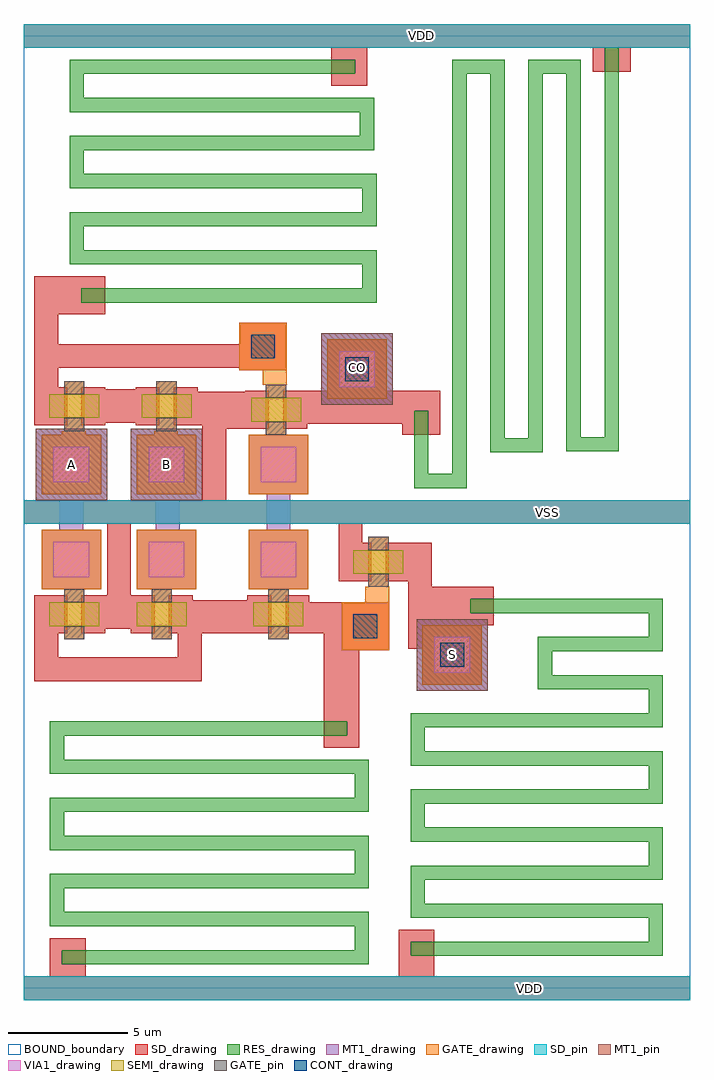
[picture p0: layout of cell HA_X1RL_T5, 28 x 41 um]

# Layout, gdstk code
from math import pi, radians
import gdstk
lib = gdstk.Library(unit=1e-6, precision=1e-09)
def R(c, l, rs):  # rectangles x0, y0, x1, y1
    for r in rs: c.add(gdstk.rectangle(r[:2], r[2:], *l))
def A(c, l, x, y, w, h, nx, ny, dx, dy):  # array of equal rectangles
    R(c, l, [(x+i*dx, y+j*dy, x+i*dx+w, y+j*dy+h) for i in range(nx) for j in range(ny)])
def P(c, l, *ps):  # polygons
    for p in ps: c.add(gdstk.Polygon(p, *l))
RES_drawing = (1, 0)
SEMI_drawing = (3, 0)
SD_drawing = (10, 0)
SD_pin = (10, 3)
GATE_drawing = (11, 0)
GATE_pin = (11, 3)
MT1_drawing = (20, 0)
MT1_pin = (20, 3)
CONT_drawing = (30, 0)
VIA1_drawing = (41, 0)
BOUND_boundary = (150, 5)

nch_cdns_772544899740 = lib.new_cell('nch_CDNS_772544899740')
R(nch_cdns_772544899740, SEMI_drawing, [(-1.05,-0.5,1.05,0.5)])
R(nch_cdns_772544899740, SD_drawing, [(-1.3,-0.8,-0.3,0.8), (0.3,-0.8,1.3,0.8)])
R(nch_cdns_772544899740, GATE_drawing, [(-0.425,-1.05,0.425,1.05)])
R(nch_cdns_772544899740, GATE_pin, [(-0.425,-1.05,0.425,-0.5), (-0.425,0.5,0.425,1.05)])

sd_gate_cdns_77254489974 = lib.new_cell('SD_GATE_CDNS_772544899740')
R(sd_gate_cdns_77254489974, SD_drawing, [(-1,-1,1,1)])
R(sd_gate_cdns_77254489974, GATE_drawing, [(-1,-1,1,1)])
R(sd_gate_cdns_77254489974, CONT_drawing, [(-0.5,-0.5,0.5,0.5)])

gate_mt1_cdns_7725448997 = lib.new_cell('GATE_MT1_CDNS_772544899741')
R(gate_mt1_cdns_7725448997, GATE_drawing, [(-1.25,-1.25,1.25,1.25)])
R(gate_mt1_cdns_7725448997, MT1_drawing, [(-1.25,-1.25,1.25,1.25)])
R(gate_mt1_cdns_7725448997, VIA1_drawing, [(-0.75,-0.75,0.75,0.75)])

ha_x1rl_t5 = lib.new_cell('HA_X1RL_T5')
R(ha_x1rl_t5, SD_drawing, [(1.1,0.5,2.6,2.1), (15.75,0.5,17.25,2.45), (12.6,10.1,14.1,15.05), (16.75,12.75,19.25,15.25), (17.15,15.25,19.75,16.85), (15.9,23.25,17.5,23.7), (8.5,23.5,9.3,23.65), (12.75,24.75,15.25,27.25), (0.5,28.3,3.425,29.9), (12.925,37.9,14.425,39.5), (23.9,38.5,25.5,39.5)])
A(ha_x1rl_t5, SD_pin, 0, -0.5, 28, 1, 1, 3, 0, 20)
P(ha_x1rl_t5, GATE_drawing, [(10.075,23.1),(11.075,23.1),(11.075,23.25),(10.975,23.25),(10.975,23.3),(10.225,23.3),(10.225,23.25),(10.075,23.25)],
  [(6.325,16.85),(5.325,16.85),(5.325,16.75),(5.425,16.75),(5.425,16.7),(6.175,16.7),(6.175,16.75),(6.325,16.75)],
  [(1.6,23.25),(2.6,23.25),(2.6,23.4),(2.5,23.4),(2.5,23.45),(1.75,23.45),(1.75,23.4),(1.6,23.4)],
  [(11.225,16.85),(10.225,16.85),(10.225,16.75),(10.325,16.75),(10.325,16.7),(11.075,16.7),(11.075,16.75),(11.225,16.75)],
  [(5.475,23.25),(6.475,23.25),(6.475,23.4),(6.375,23.4),(6.375,23.45),(5.625,23.45),(5.625,23.4),(5.475,23.4)],
  [(14.35,16.75),(15.35,16.75),(15.35,16.85),(15.275,16.85),(15.275,16.9),(14.525,16.9),(14.525,16.85),(14.35,16.85)],
  [(2.65,16.85),(1.65,16.85),(1.65,16.75),(1.75,16.75),(1.75,16.7),(2.5,16.7),(2.5,16.75),(2.65,16.75)],
  [(10.05,25.5),(11.05,25.5),(11.05,25.35),(10.975,25.35),(10.975,25.3),(10.225,25.3),(10.225,25.35),(10.05,25.35)])
R(ha_x1rl_t5, MT1_drawing, [(16.5,12.5,19.5,15.5), (0.5,20.5,3.5,23.5), (4.5,20.5,7.5,23.5), (12.5,24.5,15.5,27.5)])
R(ha_x1rl_t5, MT1_pin, [(16.5,12.5,19.5,15.5), (0.5,20.5,3.5,23.5), (4.5,20.5,7.5,23.5), (12.5,24.5,15.5,27.5)])
R(ha_x1rl_t5, BOUND_boundary, [(0,0,28,40)])
ha_x1rl_t5.add(gdstk.FlexPath([(16.65,18.7),(16.65,14.75)], 1, ends=(0, 0.5), simple_path=True, layer=10, datatype=0))  # SD_drawing
ha_x1rl_t5.add(gdstk.FlexPath([(9.4,15.6),(7.1,15.6)], 1.4, ends="flush", simple_path=True, layer=10, datatype=0))  # SD_drawing
ha_x1rl_t5.add(gdstk.FlexPath([(11.05,26.55),(1.15,26.55)], 1, ends="flush", simple_path=True, layer=10, datatype=0))  # SD_drawing
ha_x1rl_t5.add(gdstk.FlexPath([(8,24.35),(9.3,24.35)], 1.4, ends=(0.5, 0), simple_path=True, layer=10, datatype=0))  # SD_drawing
ha_x1rl_t5.add(gdstk.FlexPath([(13.725,20),(28,20)], 1, ends=(0.5, 0), simple_path=True, layer=10, datatype=0))  # SD_drawing
ha_x1rl_t5.add(gdstk.FlexPath([(13.85,15.4),(12.4,15.4)], 1, ends=(0, 0.75), simple_path=True, layer=10, datatype=0))  # SD_drawing
ha_x1rl_t5.add(gdstk.FlexPath([(4,15.1),(4,19.6)], 1, ends=(0, 0.5), simple_path=True, layer=10, datatype=0))  # SD_drawing
ha_x1rl_t5.add(gdstk.FlexPath([(3.3,15.8),(4.55,15.8)], 1.4, ends="flush", simple_path=True, layer=10, datatype=0))  # SD_drawing
ha_x1rl_t5.add(gdstk.FlexPath([(16.65,14.75),(17.95,14.75)], 1, ends=(0.5, 0), simple_path=True, layer=10, datatype=0))  # SD_drawing
ha_x1rl_t5.add(gdstk.FlexPath([(0,0),(28,0)], 1, ends="flush", simple_path=True, layer=10, datatype=0))  # SD_drawing
ha_x1rl_t5.add(gdstk.FlexPath([(8,25.05),(8,24.35)], 1, ends=(0, 0.7), simple_path=True, layer=10, datatype=0))  # SD_drawing
ha_x1rl_t5.add(gdstk.FlexPath([(13.85,15.7),(12.4,15.7)], 1, ends=(0, 0.75), simple_path=True, layer=10, datatype=0))  # SD_drawing
ha_x1rl_t5.add(gdstk.FlexPath([(0.95,29.4),(1.7,29.4)], 1, ends=(0.5, 0), simple_path=True, layer=10, datatype=0))  # SD_drawing
ha_x1rl_t5.add(gdstk.FlexPath([(13.725,20),(13.725,20.15)], 1, ends=(0.5, 0), simple_path=True, layer=10, datatype=0))  # SD_drawing
ha_x1rl_t5.add(gdstk.FlexPath([(0.95,24.15),(0.95,29.4)], 1, ends="extended", simple_path=True, layer=10, datatype=0))  # SD_drawing
ha_x1rl_t5.add(gdstk.FlexPath([(1.775,24.15),(0.95,24.15)], 1, ends=(0, 0.5), simple_path=True, layer=10, datatype=0))  # SD_drawing
ha_x1rl_t5.add(gdstk.FlexPath([(4.7,24.45),(3.425,24.45)], 1.4, ends="flush", simple_path=True, layer=10, datatype=0))  # SD_drawing
ha_x1rl_t5.add(gdstk.FlexPath([(11.9,24.4),(16.8,24.4)], 1.4, ends=(0, 0.7), simple_path=True, layer=10, datatype=0))  # SD_drawing
ha_x1rl_t5.add(gdstk.FlexPath([(13.725,17.1),(13.725,20)], 1, ends=(0, 0.5), simple_path=True, layer=10, datatype=0))  # SD_drawing
ha_x1rl_t5.add(gdstk.FlexPath([(7.25,24.35),(8,24.35)], 1.4, ends=(0, 0.5), simple_path=True, layer=10, datatype=0))  # SD_drawing
ha_x1rl_t5.add(gdstk.FlexPath([(6.975,14.9),(6.975,13.4)], 1, ends=(0, 0.5), simple_path=True, layer=10, datatype=0))  # SD_drawing
ha_x1rl_t5.add(gdstk.FlexPath([(0.95,13.4),(7.425,13.4)], 1, ends=(0.5, 0), simple_path=True, layer=10, datatype=0))  # SD_drawing
ha_x1rl_t5.add(gdstk.FlexPath([(0.95,16.5),(0.95,13.4)], 1, ends=(0, 0.5), simple_path=True, layer=10, datatype=0))  # SD_drawing
ha_x1rl_t5.add(gdstk.FlexPath([(8,24.35),(8,20.5)], 1, ends=(0.7, 0), simple_path=True, layer=10, datatype=0))  # SD_drawing
ha_x1rl_t5.add(gdstk.FlexPath([(0,40),(28,40)], 1, ends="flush", simple_path=True, layer=10, datatype=0))  # SD_drawing
ha_x1rl_t5.add(gdstk.FlexPath([(0,20),(13.725,20)], 1, ends=(0, 0.5), simple_path=True, layer=10, datatype=0))  # SD_drawing
ha_x1rl_t5.add(gdstk.FlexPath([(10.55,25.35),(10.55,27.05)], 1, ends="flush", simple_path=True, layer=11, datatype=0))  # GATE_drawing
ha_x1rl_t5.add(gdstk.FlexPath([(14.85,15.65),(13.825,15.65)], 1, ends=(0.5, 0), simple_path=True, layer=11, datatype=0))  # GATE_drawing
ha_x1rl_t5.add(gdstk.FlexPath([(14.85,16.75),(14.85,15.65)], 1, ends=(0, 0.5), simple_path=True, layer=11, datatype=0))  # GATE_drawing
ha_x1rl_t5.add(gdstk.FlexPath([(1.6,1.3),(14.2,1.3),(14.2,2.9),(1.4,2.9),(1.4,4.5),(14.2,4.5),(14.2,6.1),(1.4,6.1),(1.4,7.7),(14.2,7.7),(14.2,9.3),(1.4,9.3),(1.4,10.9),(13.6,10.9)], 0.6, ends="flush", simple_path=True, layer=1, datatype=0))  # RES_drawing
ha_x1rl_t5.add(gdstk.FlexPath([(2.425,29.1),(14.525,29.1),(14.525,30.7),(2.225,30.7),(2.225,32.3),(14.525,32.3),(14.525,33.9),(2.225,33.9),(2.225,35.5),(14.425,35.5),(14.425,37.1),(2.225,37.1),(2.225,38.7),(13.925,38.7)], 0.6, ends="flush", simple_path=True, layer=1, datatype=0))  # RES_drawing
ha_x1rl_t5.add(gdstk.FlexPath([(24.7,39.5),(24.7,22.85),(23.1,22.85),(23.1,38.7),(21.5,38.7),(21.5,22.8),(19.9,22.8),(19.9,38.7),(18.3,38.7),(18.3,21.3),(16.7,21.3),(16.7,24.25)], 0.6, ends="flush", simple_path=True, layer=1, datatype=0))  # RES_drawing
ha_x1rl_t5.add(gdstk.FlexPath([(16.25,1.65),(26.55,1.65),(26.55,3.25),(16.55,3.25),(16.55,4.85),(26.55,4.85),(26.55,6.45),(16.55,6.45),(16.55,8.05),(26.55,8.05),(26.55,9.65),(16.55,9.65),(16.55,11.25),(26.55,11.25),(26.55,12.85),(21.9,12.85),(21.9,14.45),(26.55,14.45),(26.55,16.05),(18.75,16.05)], 0.6, ends="flush", simple_path=True, layer=1, datatype=0))  # RES_drawing
ha_x1rl_t5.add(gdstk.FlexPath([(10.7,17.85),(10.7,22.1)], 1, ends="flush", simple_path=True, layer=20, datatype=0))  # MT1_drawing
ha_x1rl_t5.add(gdstk.FlexPath([(6.05,18.1),(6.05,23.5)], 1, ends="flush", simple_path=True, layer=20, datatype=0))  # MT1_drawing
ha_x1rl_t5.add(gdstk.FlexPath([(2,18.1),(2,23.5)], 1, ends="flush", simple_path=True, layer=20, datatype=0))  # MT1_drawing
ha_x1rl_t5.add(gdstk.Reference(nch_cdns_772544899740, (2.125,15.7), rotation=pi))
ha_x1rl_t5.add(gdstk.Reference(nch_cdns_772544899740, (5.8,15.7), x_reflection=True))
ha_x1rl_t5.add(gdstk.Reference(nch_cdns_772544899740, (6,24.45), rotation=pi, x_reflection=True))
ha_x1rl_t5.add(gdstk.Reference(nch_cdns_772544899740, (2.125,24.45), rotation=pi, x_reflection=True))
ha_x1rl_t5.add(gdstk.Reference(nch_cdns_772544899740, (14.9,17.9), rotation=pi))
ha_x1rl_t5.add(gdstk.Reference(nch_cdns_772544899740, (10.6,24.3)))
ha_x1rl_t5.add(gdstk.Reference(nch_cdns_772544899740, (10.7,15.7), x_reflection=True))
ha_x1rl_t5.add(gdstk.Reference(sd_gate_cdns_77254489974, (18,14)))
ha_x1rl_t5.add(gdstk.Reference(sd_gate_cdns_77254489974, (14,26)))
ha_x1rl_t5.add(gdstk.Reference(sd_gate_cdns_77254489974, (10.05,26.95)))
ha_x1rl_t5.add(gdstk.Reference(sd_gate_cdns_77254489974, (14.35,15.2), x_reflection=True))
ha_x1rl_t5.add(gdstk.Reference(gate_mt1_cdns_7725448997, (18,14)))
ha_x1rl_t5.add(gdstk.Reference(gate_mt1_cdns_7725448997, (14,26)))
ha_x1rl_t5.add(gdstk.Reference(gate_mt1_cdns_7725448997, (10.7,22)))
ha_x1rl_t5.add(gdstk.Reference(gate_mt1_cdns_7725448997, (10.7,18)))
ha_x1rl_t5.add(gdstk.Reference(gate_mt1_cdns_7725448997, (6,18)))
ha_x1rl_t5.add(gdstk.Reference(gate_mt1_cdns_7725448997, (2,18)))
ha_x1rl_t5.add(gdstk.Reference(gate_mt1_cdns_7725448997, (2,22)))
ha_x1rl_t5.add(gdstk.Reference(gate_mt1_cdns_7725448997, (6,22)))
ha_x1rl_t5.add(gdstk.Label('S', (18,14), layer=20, texttype=3))
ha_x1rl_t5.add(gdstk.Label('CO', (14,26.05), layer=20, texttype=3))
ha_x1rl_t5.add(gdstk.Label('B', (6,22), layer=20, texttype=3))
ha_x1rl_t5.add(gdstk.Label('A', (2,22), layer=20, texttype=3))
ha_x1rl_t5.add(gdstk.Label('VDD', (21.25,0), layer=10, texttype=3))
ha_x1rl_t5.add(gdstk.Label('VSS', (22,20), layer=10, texttype=3))
ha_x1rl_t5.add(gdstk.Label('VDD', (16.7,40), layer=10, texttype=3))

lib.write_gds('HA_X1RL_T5.gds')
